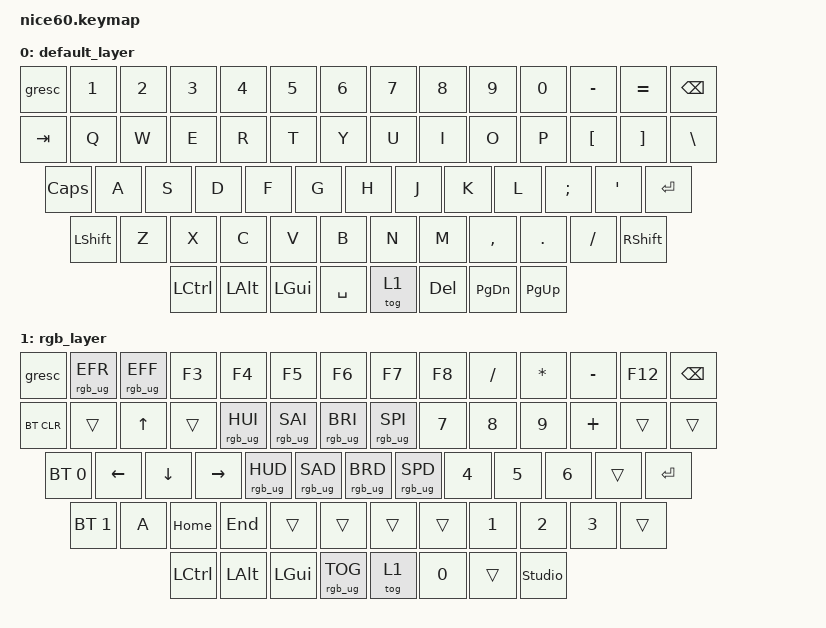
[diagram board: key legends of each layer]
/*
 * Copyright (c) 2021 Nick Winans
 *
 * SPDX-License-Identifier: MIT
 */

#include <behaviors.dtsi>
#include <dt-bindings/zmk/keys.h>
#include <dt-bindings/zmk/rgb.h>
#include <dt-bindings/zmk/bt.h>
#include <dt-bindings/zmk/outputs.h>
#include <dt-bindings/zmk/reset.h>
#include <dt-bindings/zmk/ext_power.h>

/ {
	keymap {
		compatible = "zmk,keymap";
		
		default_layer {
// ------------------------------------------------------------------------------------------
// | ESC |  1  |  2  |  3  |  4  |  5  |  6  |  7  |  8  |  9  |  0  |  -  |  =  |   BKSP   |
// | TAB  |  Q  |  W  |  E  |  R  |  T  |  Y  |  U  |  I  |  O  |  P  |  [  |  ]  |   "|"   |
// | CAPS  |  A  |  S  |  D  |  F  |  G  |  H  |  J  |  K  |  L  |  ;  |  '  |     ENTER    |
// |  SHIFT  |  Z  |  X  |  C  |  V  |  B  |  N  |  M  |  ,  |  .  |  /  |      SHIFT       |
// |  CTL  |   OPT  | CMD  |            SPACE              |  TOG(1)  | DEL | PGDN |  PGUP  |
// ------------------------------------------------------------------------------------------
			bindings = <
	&gresc  &kp N1 &kp N2 &kp N3 &kp N4 &kp N5 &kp N6 &kp N7 &kp N8 &kp N9 &kp N0 &kp MINUS &kp EQUAL  &kp BSPC
	&kp TAB  &kp Q  &kp W  &kp E  &kp R  &kp T  &kp Y  &kp U  &kp I  &kp O  &kp P  &kp LBKT  &kp RBKT  &kp BSLH
	&kp CLCK  &kp A  &kp S  &kp D  &kp F  &kp G  &kp H  &kp J  &kp K  &kp L  &kp SEMI &kp SQT           &kp RET
	&kp LSHFT   &kp Z  &kp X  &kp C  &kp V  &kp B  &kp N  &kp M  &kp COMMA &kp DOT &kp FSLH           &kp RSHFT
	&kp LCTRL &kp LALT &kp LGUI              &kp SPACE                    &tog 1  &kp DEL  &kp PG_DN  &kp PG_UP
			>;
		};

		rgb_layer {
// ------------------------------------------------------------------------------------------------
// | ESC |EFF REV | EFF FORW | F3  | F4  | F5  | F6  | F7  | F8  |  /  |  *  |  -  | F12  | BKSP  |
// |  BT CLR   | |  UP | | HUEUP | SATUP | BRIUP | SPDUP |  7  |  8  |  9  |  +  |  |             |
// |   BT 1   | LT |  DN  | RT | HUEDN | SATDN | BRIDN | SPDDN |  4  |  5  |  6  |       | ENTER  |
// |    BT 2     |  A  | HOME | END  |    |      |    |      |  1  |  2  |  3  |    PRT SCR       |
// |   CTL  |  OPT  |  CMD |            TOG RGB                | TOG(1)|    0    |        |       |
// ------------------------------------------------------------------------------------------------
			bindings = <
	&gresc   &rgb_ug RGB_EFR    &rgb_ug RGB_EFF &kp F3  &kp F4  &kp F5       &kp F6    &kp F7        &kp F8   &kp FSLH   &kp STAR  &kp MINUS &kp F12  &kp BSPC
	&bt BT_CLR  &trans    &kp UP    &trans  &rgb_ug RGB_HUI  &rgb_ug RGB_SAI &rgb_ug RGB_BRI &rgb_ug RGB_SPI  &kp N7   &kp N8   &kp N9  &kp PLUS &trans &trans
	&bt BT_SEL 0   &kp LEFT  &kp DOWN  &kp RIGHT &rgb_ug RGB_HUD &rgb_ug RGB_SAD &rgb_ug RGB_BRD &rgb_ug RGB_SPD &kp N4   &kp N5   &kp N6   &trans                &kp RET
	&bt BT_SEL 1    &kp A    &kp HOME    &kp END  &trans       &trans           &trans          &trans          &kp N1   &kp N2   &kp N3                       &trans
	&kp LCTRL  &kp LALT   &kp LGUI                            &rgb_ug RGB_TOG                                       &tog 1     &kp N0      &trans              &studio_unlock
			>;
		};
	};
};
